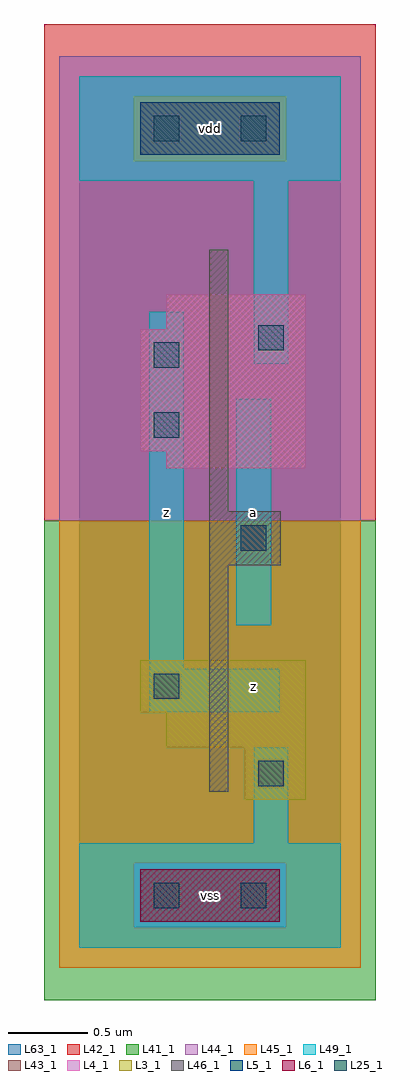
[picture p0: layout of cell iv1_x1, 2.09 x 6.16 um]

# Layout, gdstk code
import gdstk
lib = gdstk.Library(unit=1e-6, precision=1e-09)
def R(c, l, rs):  # rectangles x0, y0, x1, y1
    for r in rs: c.add(gdstk.rectangle(r[:2], r[2:], *l))
L3_1 = (3, 1)
L4_1 = (4, 1)
L5_1 = (5, 1)
L6_1 = (6, 1)
L25_1 = (25, 1)
L41_1 = (41, 1)
L42_1 = (42, 1)
L43_1 = (43, 1)
L44_1 = (44, 1)
L45_1 = (45, 1)
L46_1 = (46, 1)
L49_1 = (49, 1)
L63_1 = (63, 1)

iv1_x1 = lib.new_cell('iv1_x1')
R(iv1_x1, L3_1, [(1.045,0.935,1.43,1.265), (0.55,1.265,1.43,1.485), (0.385,1.485,1.43,1.815)])
R(iv1_x1, L4_1, [(0.55,3.025,1.43,3.135), (0.385,3.135,1.43,3.905), (0.55,3.905,1.43,4.125)])
R(iv1_x1, L5_1, [(0.385,5.005,1.265,5.335)])
R(iv1_x1, L6_1, [(0.385,0.165,1.265,0.495)])
R(iv1_x1, L25_1, [(0.47,0.25,0.63,0.41), (1.02,0.25,1.18,0.41), (1.13,1.02,1.29,1.18), (0.47,1.57,0.63,1.73), (1.02,2.505,1.18,2.665), (0.47,3.22,0.63,3.38), (0.47,3.66,0.63,3.82), (1.13,3.77,1.29,3.93), (0.47,5.09,0.63,5.25), (1.02,5.09,1.18,5.25)])
R(iv1_x1, L41_1, [(-0.22,-0.33,1.87,2.695)])
R(iv1_x1, L42_1, [(-0.22,2.695,1.87,5.83)])
R(iv1_x1, L43_1, [(0.385,0.165,1.265,0.495), (1.045,0.935,1.43,1.265), (0.55,1.265,1.43,1.485), (0.385,1.485,1.43,1.815), (0.55,3.025,1.43,3.135), (0.385,3.135,1.43,3.905), (0.55,3.905,1.43,4.125), (0.385,5.005,1.265,5.335)])
R(iv1_x1, L44_1, [(0.345,0.125,1.305,0.535), (-0.125,2.695,1.775,4.965), (-0.125,4.965,0.345,5.375), (1.305,4.965,1.775,5.375), (-0.125,5.375,1.775,5.625)])
R(iv1_x1, L45_1, [(-0.125,-0.125,1.775,0.125), (-0.125,0.125,0.345,0.535), (1.305,0.125,1.775,0.535), (-0.125,0.535,1.775,2.695), (0.345,4.965,1.305,5.375)])
R(iv1_x1, L46_1, [(0.82,0.985,0.94,2.415), (0.82,2.415,1.27,2.755), (0.82,2.755,0.94,4.405)])
R(iv1_x1, L49_1, [(0,0,1.65,0.66), (1.1,0.66,1.32,1.265), (0.44,1.485,1.265,1.76), (0.44,1.76,0.66,4.015), (0.99,2.035,1.21,3.465), (1.1,3.685,1.32,4.84), (0,4.84,1.65,5.5)])
R(iv1_x1, L63_1, [(0,0,1.65,5.5)])
iv1_x1.add(gdstk.Label('z', (0.55,2.75), layer=49, texttype=1))
iv1_x1.add(gdstk.Label('z', (0.55,2.75), layer=49, texttype=1))
iv1_x1.add(gdstk.Label('vss', (0.825,0.33), layer=49, texttype=1))
iv1_x1.add(gdstk.Label('vss', (0.825,0.33), layer=49, texttype=1))
iv1_x1.add(gdstk.Label('z', (1.1,1.65), layer=49, texttype=1))
iv1_x1.add(gdstk.Label('z', (1.1,1.65), layer=49, texttype=1))
iv1_x1.add(gdstk.Label('a', (1.1,2.75), layer=49, texttype=1))
iv1_x1.add(gdstk.Label('a', (1.1,2.75), layer=49, texttype=1))
iv1_x1.add(gdstk.Label('vdd', (0.825,5.17), layer=49, texttype=1))
iv1_x1.add(gdstk.Label('vdd', (0.825,5.17), layer=49, texttype=1))

lib.write_gds('iv1_x1.gds')
